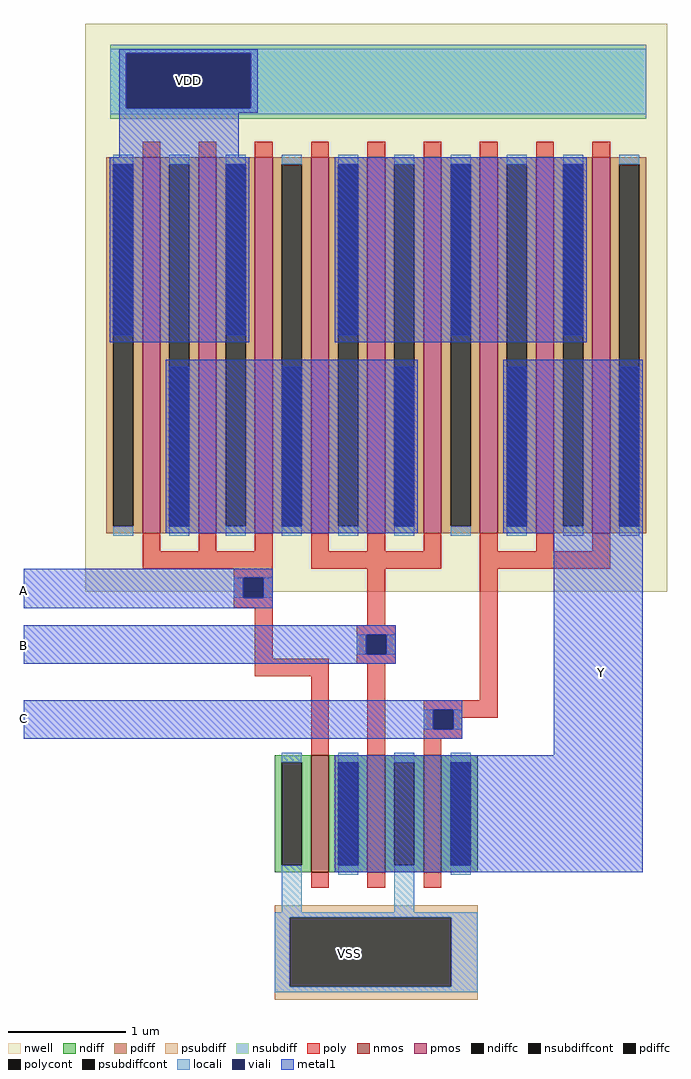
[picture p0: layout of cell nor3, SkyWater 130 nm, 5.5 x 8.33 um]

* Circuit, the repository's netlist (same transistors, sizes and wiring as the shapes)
** sch_path: /home/erhangok/Documents/Dersler/VLSI/vlsi_sky130b/design/xschem/NOR/nor3.sch
.subckt nor3 A B C VSS VDD Y
*.PININFO Y:O B:I C:I A:I
XM2 Y A VSS VSS sky130_fd_pr__nfet_01v8 L=0.15 W=1 nf=1 ad='int((nf+1)/2) * W/nf * 0.29' as='int((nf+2)/2) * W/nf * 0.29' pd='2*int((nf+1)/2) * (W/nf + 0.29)'
+ ps='2*int((nf+2)/2) * (W/nf + 0.29)' nrd='0.29 / W' nrs='0.29 / W' sa=0 sb=0 sd=0 mult=1 m=1
XM3 Y B VSS VSS sky130_fd_pr__nfet_01v8 L=0.15 W=1 nf=1 ad='int((nf+1)/2) * W/nf * 0.29' as='int((nf+2)/2) * W/nf * 0.29' pd='2*int((nf+1)/2) * (W/nf + 0.29)'
+ ps='2*int((nf+2)/2) * (W/nf + 0.29)' nrd='0.29 / W' nrs='0.29 / W' sa=0 sb=0 sd=0 mult=1 m=1
XM6 Y C VSS VSS sky130_fd_pr__nfet_01v8 L=0.15 W=1 nf=1 ad='int((nf+1)/2) * W/nf * 0.29' as='int((nf+2)/2) * W/nf * 0.29' pd='2*int((nf+1)/2) * (W/nf + 0.29)'
+ ps='2*int((nf+2)/2) * (W/nf + 0.29)' nrd='0.29 / W' nrs='0.29 / W' sa=0 sb=0 sd=0 mult=1 m=1
XM1 net2 C VDD VDD sky130_fd_pr__pfet_01v8 L=0.15 W=9.63 nf=3 ad='int((nf+1)/2) * W/nf * 0.29' as='int((nf+2)/2) * W/nf * 0.29' pd='2*int((nf+1)/2) * (W/nf + 0.29)'
+ ps='2*int((nf+2)/2) * (W/nf + 0.29)' nrd='0.29 / W' nrs='0.29 / W' sa=0 sb=0 sd=0 mult=1 m=1
XM4 net1 B net2 net2 sky130_fd_pr__pfet_01v8 L=0.15 W=9.63 nf=3 ad='int((nf+1)/2) * W/nf * 0.29' as='int((nf+2)/2) * W/nf * 0.29' pd='2*int((nf+1)/2) * (W/nf + 0.29)'
+ ps='2*int((nf+2)/2) * (W/nf + 0.29)' nrd='0.29 / W' nrs='0.29 / W' sa=0 sb=0 sd=0 mult=1 m=1
XM5 Y A net1 net1 sky130_fd_pr__pfet_01v8 L=0.15 W=9.63 nf=3 ad='int((nf+1)/2) * W/nf * 0.29' as='int((nf+2)/2) * W/nf * 0.29' pd='2*int((nf+1)/2) * (W/nf + 0.29)'
+ ps='2*int((nf+2)/2) * (W/nf + 0.29)' nrd='0.29 / W' nrs='0.29 / W' sa=0 sb=0 sd=0 mult=1 m=1
.ends
.end

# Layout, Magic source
magic
tech sky130B
magscale 1 2
<< nwell >>
rect -205 1525 789 1745
<< psubdiff >>
rect 119 219 465 240
rect 119 101 144 219
rect 420 101 465 219
rect 119 79 465 101
<< nsubdiff >>
rect -162 1694 753 1709
rect -162 1600 -135 1694
rect 78 1600 753 1694
rect -162 1582 753 1600
<< psubdiffcont >>
rect 144 101 420 219
<< nsubdiffcont >>
rect -135 1600 78 1694
<< poly >>
rect 49 799 115 814
rect 49 765 65 799
rect 99 765 115 799
rect 49 748 115 765
rect 85 661 115 748
rect 277 718 307 814
rect 259 702 325 718
rect 259 668 275 702
rect 309 668 325 702
rect 85 631 211 661
rect 259 652 325 668
rect 181 522 211 631
rect 277 522 307 652
rect 469 590 499 814
rect 373 574 499 590
rect 373 540 389 574
rect 423 560 499 574
rect 423 540 439 560
rect 373 524 439 540
rect 373 522 403 524
<< polycont >>
rect 65 765 99 799
rect 275 668 309 702
rect 389 540 423 574
<< locali >>
rect -162 1694 753 1702
rect -162 1600 -135 1694
rect 78 1600 753 1694
rect -162 1590 753 1600
rect 49 765 65 799
rect 99 765 115 799
rect 259 668 275 702
rect 309 668 325 702
rect 373 540 389 574
rect 423 540 439 574
rect 131 228 165 292
rect 323 228 357 299
rect 119 219 465 228
rect 119 101 144 219
rect 420 101 465 219
rect 119 91 465 101
<< viali >>
rect -135 1600 78 1694
rect 65 765 99 799
rect 275 668 309 702
rect 389 540 423 574
<< metal1 >>
rect -147 1694 90 1701
rect -147 1600 -135 1694
rect 78 1600 90 1694
rect -147 1593 90 1600
rect -147 1517 57 1593
rect -163 1201 75 1517
rect 221 1201 651 1517
rect -67 875 363 1171
rect 509 875 747 1171
rect -310 799 115 814
rect -310 765 65 799
rect 99 765 115 799
rect -310 747 115 765
rect -310 702 325 718
rect -310 668 275 702
rect 309 668 325 702
rect -310 652 325 668
rect -310 574 439 590
rect -310 540 389 574
rect 423 540 439 574
rect -310 524 439 540
rect 595 496 747 875
rect 221 296 747 496
use sky130_fd_pr__nfet_01v8_XGU3BH  sky130_fd_pr__nfet_01v8_XGU3BH_0
transform 1 0 292 0 1 396
box -173 -126 173 126
use sky130_fd_pr__pfet_01v8_KAWEF3  sky130_fd_pr__pfet_01v8_KAWEF3_0
transform 1 0 292 0 1 1196
box -497 -421 497 421
<< labels >>
rlabel metal1 -310 778 -310 778 7 A
port 1 w
rlabel metal1 -310 684 -310 684 7 B
port 2 w
rlabel metal1 -310 559 -310 559 3 C
port 3 e
rlabel li 246 158 246 158 1 VSS
port 4 n
rlabel metal1 -29 1648 -29 1648 5 VDD
port 5 s
rlabel metal1 676 638 676 638 3 Y
port 6 e
<< end >>

# cell sky130_fd_pr__nfet_01v8_XGU3BH: kit device sky130_fd_pr__nfet_01v8, w 1 l 0.150 m 1 nf 3 diffcov 100 polycov 100 guard 0 glc 1 grc 1 gtc 1 gbc 1 tbcov 100 rlcov 100 topc 1 botc 1 poverlap 0 doverlap 1 lmin 0.15 wmin 0.42 compatible {sky130_fd_pr__nfet_01v8 sky130_fd_pr__nfet_01v8_lvt sky130_fd_bs_flash__special_sonosfet_star sky130_fd_pr__nfet_g5v0d10v5 sky130_fd_pr__nfet_05v0_nvt sky130_fd_pr__nfet_03v3_nvt} full_metal 1 viasrc 100 viadrn 100 viagate 0 viagb 0 viagr 0 viagl 0 viagt 0

# cell sky130_fd_pr__pfet_01v8_KAWEF3: kit device sky130_fd_pr__pfet_01v8, w 3.21 l 0.15 m 1 nf 9 diffcov 100 polycov 100 guard 0 glc 1 grc 1 gtc 1 gbc 1 tbcov 100 rlcov 100 topc 1 botc 1 poverlap 0 doverlap 1 lmin 0.15 wmin 0.42 compatible {sky130_fd_pr__pfet_01v8 sky130_fd_pr__pfet_01v8_lvt sky130_fd_pr__pfet_01v8_hvt sky130_fd_pr__pfet_g5v0d10v5} full_metal 1 viasrc 100 viadrn 100 viagate 100 viagb 0 viagr 0 viagl 0 viagt 0
